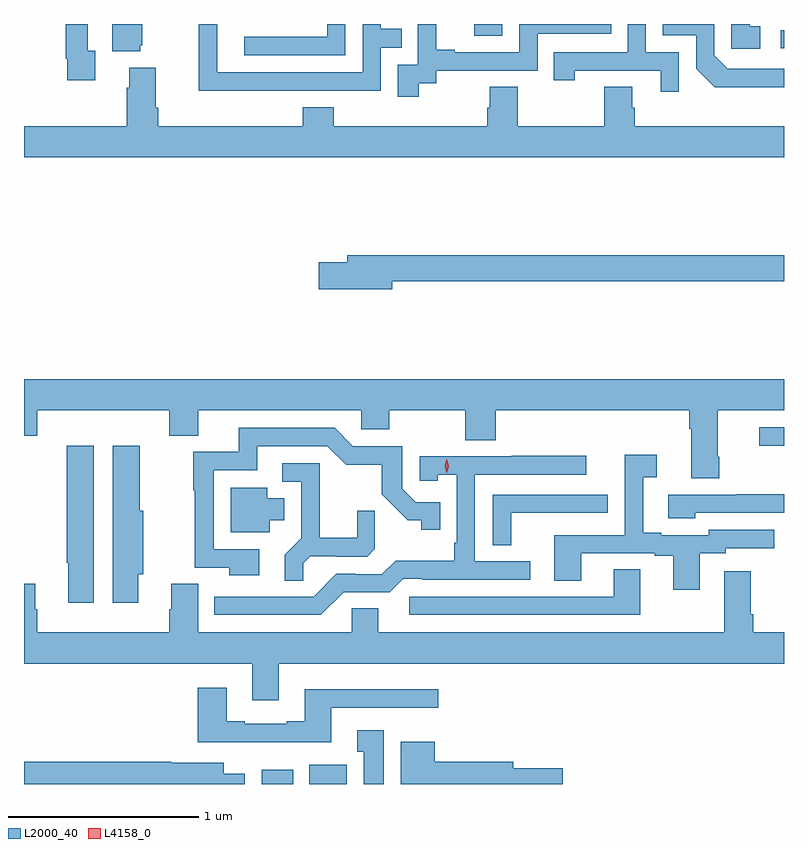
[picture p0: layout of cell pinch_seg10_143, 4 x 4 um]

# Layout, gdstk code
import gdstk
lib = gdstk.Library(unit=1e-6, precision=1e-09)
def R(c, l, rs):  # rectangles x0, y0, x1, y1
    for r in rs: c.add(gdstk.rectangle(r[:2], r[2:], *l))
def P(c, l, *ps):  # polygons
    for p in ps: c.add(gdstk.Polygon(p, *l))
L2000_40 = (2000, 40)
L4158_0 = (4158, 0)

pinch_seg10_143 = lib.new_cell('pinch_seg10_143')
R(pinch_seg10_143, L2000_40, [(724.919,1273.042,725.086,1273.117), (725.171,1273.042,725.368,1273.144), (727.539,1274.823,727.669,1274.919), (727.653,1276.914,727.669,1277.01), (726.039,1276.98,726.186,1277.042)])
P(pinch_seg10_143, L2000_40, [(727.116,1276.893),(726.942,1276.893),(726.942,1277.042),(726.846,1277.042),(726.846,1276.893),(726.457,1276.893),(726.457,1276.746),(726.568,1276.746),(726.568,1276.797),(727.019,1276.797),(727.019,1276.686),(727.116,1276.686)],
  [(725.361,1277.042),(725.265,1277.042),(725.265,1276.974),(724.827,1276.974),(724.827,1276.878),(725.361,1276.878)],
  [(727.543,1277.031),(727.49,1277.031),(727.49,1277.042),(727.392,1277.042),(727.392,1276.911),(727.543,1276.911)],
  [(725.051,1276.692),(725.547,1276.692),(725.547,1276.917),(725.657,1276.917),(725.657,1277.018),(725.547,1277.018),(725.547,1277.042),(725.451,1277.042),(725.451,1276.788),(724.686,1276.788),(724.686,1277.042),(724.59,1277.042),(724.59,1276.997),(724.588,1276.997),(724.588,1276.691),(725.051,1276.691)],
  [(727.669,1276.806),(727.374,1276.806),(727.302,1276.878),(727.302,1277.042),(727.032,1277.042),(727.032,1276.983),(727.206,1276.983),(727.206,1276.806),(727.304,1276.709),(727.669,1276.709)],
  [(725.746,1276.729),(725.838,1276.729),(725.838,1276.797),(726.372,1276.797),(726.372,1276.992),(726.761,1276.992),(726.761,1277.042),(726.276,1277.042),(726.276,1276.893),(725.935,1276.893),(725.935,1276.906),(725.84,1276.906),(725.84,1277.042),(725.742,1277.042),(725.742,1276.827),(725.637,1276.827),(725.637,1276.659),(725.746,1276.659)],
  [(724.045,1276.902),(724.005,1276.902),(724.005,1277.042),(723.889,1277.042),(723.889,1276.858),(723.897,1276.858),(723.897,1276.746),(724.045,1276.746)],
  [(724.28,1276.929),(724.291,1276.929),(724.291,1277.042),(724.133,1277.042),(724.133,1276.898),(724.28,1276.898)],
  [(727.669,1276.504),(726.884,1276.504),(726.884,1276.602),(726.871,1276.602),(726.871,1276.712),(726.724,1276.712),(726.724,1276.504),(726.267,1276.504),(726.267,1276.712),(726.119,1276.712),(726.119,1276.602),(726.107,1276.602),(726.107,1276.504),(725.3,1276.504),(725.3,1276.603),(725.135,1276.603),(725.135,1276.504),(724.376,1276.504),(724.376,1276.6),(724.363,1276.6),(724.363,1276.813),(724.223,1276.813),(724.223,1276.706),(724.211,1276.706),(724.211,1276.504),(723.669,1276.504),(723.669,1276.34),(727.669,1276.34)],
  [(725.608,1275.688),(727.669,1275.688),(727.669,1275.824),(725.369,1275.824),(725.369,1275.788),(725.22,1275.788),(725.22,1275.646),(725.608,1275.646)],
  [(723.669,1274.875),(723.74,1274.875),(723.74,1275.008),(724.433,1275.008),(724.433,1274.875),(724.585,1274.875),(724.585,1275.008),(725.445,1275.008),(725.445,1274.91),(725.592,1274.91),(725.592,1275.008),(725.992,1275.008),(725.992,1274.851),(726.152,1274.851),(726.152,1275.008),(727.169,1275.008),(727.169,1274.912),(727.181,1274.912),(727.181,1274.652),(727.329,1274.652),(727.329,1274.764),(727.321,1274.764),(727.321,1275.008),(727.669,1275.008),(727.669,1275.172),(723.669,1275.172)],
  [(724.906,1274.277),(724.668,1274.277),(724.668,1274.694),(724.897,1274.694),(724.897,1274.82),(725.265,1274.82),(725.364,1274.722),(725.553,1274.722),(725.553,1274.566),(725.69,1274.429),(725.76,1274.429),(725.76,1274.379),(725.861,1274.379),(725.861,1274.526),(725.73,1274.526),(725.661,1274.595),(725.661,1274.82),(725.4,1274.82),(725.304,1274.916),(724.799,1274.916),(724.799,1274.79),(724.56,1274.79),(724.56,1274.587),(724.567,1274.587),(724.567,1274.181),(724.75,1274.181),(724.75,1274.141),(724.906,1274.141)],
  [(724.036,1274.821),(723.895,1274.821),(723.895,1274.207),(723.902,1274.207),(723.902,1273.995),(724.036,1273.995)],
  [(724.27,1274.145),(724.297,1274.145),(724.297,1274.481),(724.278,1274.481),(724.278,1274.821),(724.136,1274.821),(724.136,1273.995),(724.27,1273.995)],
  [(727.225,1274.256),(727.362,1274.256),(727.362,1274.283),(727.618,1274.283),(727.618,1274.379),(727.272,1274.379),(727.272,1274.352),(727.024,1274.352),(727.024,1274.365),(726.928,1274.365),(726.928,1274.656),(727,1274.656),(727,1274.776),(726.831,1274.776),(726.831,1274.352),(726.461,1274.352),(726.461,1274.113),(726.601,1274.113),(726.601,1274.256),(726.989,1274.256),(726.989,1274.244),(727.085,1274.244),(727.085,1274.064),(727.225,1274.064)],
  [(725.352,1274.052),(725.595,1274.052),(725.664,1274.121),(725.764,1274.121),(725.764,1274.118),(726.334,1274.118),(726.334,1274.214),(726.042,1274.214),(726.042,1274.67),(726.628,1274.67),(726.628,1274.769),(726.235,1274.769),(726.235,1274.766),(725.751,1274.766),(725.751,1274.637),(725.847,1274.637),(725.847,1274.669),(725.946,1274.669),(725.946,1274.311),(725.934,1274.311),(725.934,1274.218),(725.626,1274.218),(725.553,1274.145),(725.414,1274.145),(725.414,1274.148),(725.313,1274.148),(725.193,1274.028),(724.67,1274.028),(724.67,1273.932),(725.232,1273.932)],
  [(725.139,1274.204),(725.176,1274.241),(725.31,1274.241),(725.31,1274.238),(725.475,1274.238),(725.516,1274.279),(725.516,1274.481),(725.422,1274.481),(725.422,1274.338),(725.225,1274.338),(725.225,1274.73),(725.028,1274.73),(725.028,1274.634),(725.127,1274.634),(725.127,1274.335),(725.041,1274.249),(725.041,1274.113),(725.139,1274.113)],
  [(724.963,1274.429),(725.038,1274.429),(725.038,1274.545),(724.948,1274.545),(724.948,1274.602),(724.757,1274.602),(724.757,1274.366),(724.963,1274.366)],
  [(727.203,1274.469),(727.669,1274.469),(727.669,1274.568),(727.417,1274.568),(727.417,1274.565),(727.059,1274.565),(727.059,1274.441),(727.203,1274.441)],
  [(726.234,1274.469),(726.629,1274.469),(726.629,1274.47),(726.742,1274.47),(726.742,1274.565),(726.135,1274.565),(726.135,1274.299),(726.234,1274.299)],
  [(726.913,1274.171),(726.773,1274.171),(726.773,1274.028),(725.697,1274.028),(725.697,1273.932),(726.913,1273.932)],
  [(725.011,1273.676),(727.669,1273.676),(727.669,1273.84),(727.508,1273.84),(727.508,1273.936),(727.495,1273.936),(727.495,1274.161),(727.355,1274.161),(727.355,1273.84),(725.533,1273.84),(725.533,1273.967),(725.394,1273.967),(725.394,1273.84),(724.585,1273.84),(724.585,1274.096),(724.445,1274.096),(724.445,1273.962),(724.433,1273.962),(724.433,1273.84),(723.74,1273.84),(723.74,1273.962),(723.727,1273.962),(723.727,1274.096),(723.669,1274.096),(723.669,1273.676),(724.871,1273.676),(724.871,1273.482),(725.011,1273.482)],
  [(725.287,1273.443),(725.848,1273.443),(725.848,1273.54),(725.147,1273.54),(725.147,1273.372),(725.051,1273.372),(725.051,1273.359),(724.831,1273.359),(724.831,1273.372),(724.735,1273.372),(724.735,1273.549),(724.583,1273.549),(724.583,1273.262),(725.287,1273.262)],
  [(725.563,1273.324),(725.423,1273.324),(725.423,1273.211),(725.456,1273.211),(725.456,1273.042),(725.563,1273.042)],
  [(726.505,1273.124),(726.244,1273.124),(726.244,1273.16),(725.83,1273.16),(725.83,1273.264),(725.651,1273.264),(725.651,1273.042),(726.505,1273.042)],
  [(724.831,1273.096),(724.72,1273.096),(724.72,1273.153),(724.444,1273.153),(724.444,1273.16),(723.669,1273.16),(723.669,1273.042),(724.831,1273.042)])
P(pinch_seg10_143, L4158_0, [(725.893,1274.679),(725.893,1274.679),(725.884,1274.715),(725.894,1274.751),(725.895,1274.751),(725.895,1274.751),(725.904,1274.714),(725.893,1274.679)])

lib.write_gds('pinch_seg10_143.gds')
